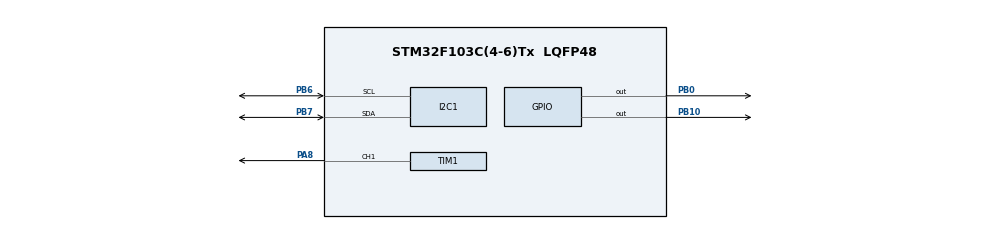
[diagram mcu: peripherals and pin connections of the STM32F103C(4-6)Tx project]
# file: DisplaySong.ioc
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Mcu.Family=STM32F1
ProjectManager.StackSize=0x400
PA13.Signal=SYS_JTMS-SWDIO
SH.S_TIM1_CH1.0=TIM1_CH1,PWM Generation1 CH1
ProjectManager.TargetToolchain=STM32CubeIDE
PB6.Signal=I2C1_SCL
PB6.Mode=I2C
PB10.Signal=GPIO_Output
board=custom
RCC.APB2Freq_Value=8000000
TIM1.Channel-PWM\ Generation1\ CH1=TIM_CHANNEL_1
PA14.Mode=Serial_Wire
PB7.Signal=I2C1_SDA
PA8.Signal=S_TIM1_CH1
PA13.Mode=Serial_Wire
Mcu.Name=STM32F103C(4-6)Tx
VP_TIM1_VS_ClockSourceINT.Mode=Internal
Mcu.Package=LQFP48
PB7.Mode=I2C
PA14.Signal=SYS_JTCK-SWCLK
ProjectManager.HeapSize=0x200
NVIC.PriorityGroup=NVIC_PRIORITYGROUP_4
RCC.APB1Freq_Value=8000000
PB0.Signal=GPIO_Output

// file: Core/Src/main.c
/* USER CODE BEGIN Header */
/**
  ******************************************************************************
  * @file           : main.c
  * @brief          : Main program body
  ******************************************************************************
  */
/* USER CODE END Header */
#include "main.h"

/* USER CODE BEGIN Includes */
#include <math.h>
#include "ssd1306.h"
#include "fonts.h"
/* USER CODE END Includes */

I2C_HandleTypeDef hi2c1;
TIM_HandleTypeDef htim1;

/* USER CODE BEGIN PV */
uint8_t  song_playing = 0;
uint8_t  note_idx = 0;
uint8_t  lyric_idx = 0;
uint32_t note_tick = 0;
/* USER CODE END PV */

void SystemClock_Config(void);
static void MX_GPIO_Init(void);
static void MX_I2C1_Init(void);
static void MX_TIM1_Init(void);

/* USER CODE BEGIN PFP */
void OLED_ShowText(const char* txt);
/* USER CODE END PFP */

/* USER CODE BEGIN 0 */

/* ===== MUSICAL NOTES (CORRECT OCTAVE) ===== */
#define NOTE_C4  262
#define NOTE_D4  294
#define NOTE_E4  330
#define NOTE_F4  349
#define NOTE_G4  392
#define NOTE_A4  440
#define NOTE_C5  523
#define NOTE_D5  587
#define NOTE_E5  659
#define NOTE_F5  698
#define NOTE_G5  784
#define NOTE_A5  880

   // <--- SPEED CONTROL (0.5 = fast, 1.0 = slow)

void Speaker_PlayFreq(uint16_t freq)
{
    if (freq == 0)
    {
        __HAL_TIM_SET_COMPARE(&htim1, TIM_CHANNEL_1, 0);
        return;
    }

    uint32_t arr = (HAL_RCC_GetPCLK2Freq() / freq) - 1;
    __HAL_TIM_SET_AUTORELOAD(&htim1, arr);
    __HAL_TIM_SET_COMPARE(&htim1, TIM_CHANNEL_1, arr / 2);
}

/* ===== OLED ===== */
void OLED_ShowText(const char* txt)
{
    ssd1306_Fill(Black);
    ssd1306_SetCursor(0, 22);
    ssd1306_WriteString(txt, Font_7x10, White);
    ssd1306_UpdateScreen(&hi2c1);
}

void OLED_ShowTwoLine(const char* l1, const char* l2)
{
    ssd1306_Fill(Black);

    ssd1306_SetCursor(0, 10);
    ssd1306_WriteString(l1, Font_7x10, White);

    ssd1306_SetCursor(0, 26);
    ssd1306_WriteString(l2, Font_7x10, White);

    ssd1306_UpdateScreen(&hi2c1);
}

/* ===== LED ===== */
void LED_Music(uint16_t freq)
{
    HAL_GPIO_WritePin(GPIOB, GPIO_PIN_0 | GPIO_PIN_10, GPIO_PIN_RESET);

    if (freq <= NOTE_E4)
        HAL_GPIO_WritePin(GPIOB, GPIO_PIN_0, GPIO_PIN_SET);   // Green
    else
        HAL_GPIO_WritePin(GPIOB, GPIO_PIN_10, GPIO_PIN_SET);  // Yellow
}
// ===== CORRECT TWINKLE MELODY =====
uint16_t twinkleNotes[] =
{
    NOTE_C4, NOTE_C4, NOTE_G4, NOTE_G4, NOTE_A4, NOTE_A4, NOTE_G4,
    NOTE_F4, NOTE_F4, NOTE_E4, NOTE_E4, NOTE_D4, NOTE_D4, NOTE_C4,
    NOTE_G4, NOTE_G4, NOTE_F4, NOTE_F4, NOTE_E4, NOTE_E4, NOTE_D4,
    NOTE_G4, NOTE_G4, NOTE_F4, NOTE_F4, NOTE_E4, NOTE_E4, NOTE_D4,
    NOTE_C4, NOTE_C4, NOTE_G4, NOTE_G4, NOTE_A4, NOTE_A4, NOTE_G4,
    NOTE_F4, NOTE_F4, NOTE_E4, NOTE_E4, NOTE_D4, NOTE_D4, NOTE_C4
};

uint16_t twinkleDurations[] =
{
    400,400,400,400,400,400,800,
    400,400,400,400,400,400,800,
    400,400,400,400,400,400,800,
    400,400,400,400,400,400,800,
    400,400,400,400,400,400,800,
    400,400,400,400,400,400,800
};

/* ===== LYRICS ===== */
const char* twinkleLyrics[][2] =
{
    {"Twinkle twinkle", "little star"},
    {"How I wonder", "what you are"},
    {"Up above the world", "so high"},
    {"Like a diamond", "in the sky"}
};

/* which note index changes lyrics */
uint8_t lyricMap[] = {0, 7, 14, 21};

void Twinkle_Update(void)
{
    uint32_t now = HAL_GetTick();

    if (!song_playing)
    {
        song_playing = 1;
        note_idx = 0;
        lyric_idx = 0;
        note_tick = now;

        Speaker_PlayFreq(twinkleNotes[0]);
        LED_Music(twinkleNotes[0]);
        OLED_ShowTwoLine(
            twinkleLyrics[0][0],
            twinkleLyrics[0][1]
        );
        return;
    }

    if (now - note_tick >= twinkleDurations[note_idx])

    {
        note_tick = now;
        note_idx++;

        if (note_idx >= sizeof(twinkleNotes)/sizeof(twinkleNotes[0]))
        {
            Speaker_PlayFreq(0);
            OLED_ShowText("The End");
            song_playing = 0;
            return;
        }

        Speaker_PlayFreq(twinkleNotes[note_idx]);
        LED_Music(twinkleNotes[note_idx]);

        if (lyric_idx + 1 < 4 && note_idx == lyricMap[lyric_idx + 1])
        {
            lyric_idx++;
            OLED_ShowTwoLine(
                twinkleLyrics[lyric_idx][0],
                twinkleLyrics[lyric_idx][1]
            );
        }

        }
    }

void Play_TwinkleTwinkle_Synced(void)
{
    /* ===== NOTES (C4 octave – correct pitch) ===== */
    uint16_t notes[] =
    {
        NOTE_C4, NOTE_C4, NOTE_G4, NOTE_G4, NOTE_A4, NOTE_A4, NOTE_G4,
        NOTE_F4, NOTE_F4, NOTE_E4, NOTE_E4, NOTE_D4, NOTE_D4, NOTE_C4,

        NOTE_G4, NOTE_G4, NOTE_F4, NOTE_F4, NOTE_E4, NOTE_E4, NOTE_D4,
        NOTE_G4, NOTE_G4, NOTE_F4, NOTE_F4, NOTE_E4, NOTE_E4, NOTE_D4,

        NOTE_C4, NOTE_C4, NOTE_G4, NOTE_G4, NOTE_A4, NOTE_A4, NOTE_G4,
        NOTE_F4, NOTE_F4, NOTE_E4, NOTE_E4, NOTE_D4, NOTE_D4, NOTE_C4
    };

    /* ===== DURATIONS (EXACT FROM WORKING CODE) ===== */
    uint16_t duration[] =
    {
        400,400,400,400,400,400,800,
        400,400,400,400,400,400,800,
        400,400,400,400,400,400,800,
        400,400,400,400,400,400,800,
        400,400,400,400,400,400,800,
        400,400,400,400,400,400,800
    };

    /* ===== LYRICS ===== */
    const char* lyrics[][2] =
    {
        {"Twinkle twinkle", "little star"},
        {"How I wonder", "what you are"},
        {"Up above the world", "so high"},
        {"Like a diamond", "in the sky"}
    };

    /* ===== PHRASE START NOTE INDEX ===== */
    uint8_t lyricMap[] = {0, 7, 14, 21};

    int noteCount = sizeof(notes) / sizeof(notes[0]);
    uint8_t lyricIdx = 0;

    /* ----- SHOW FIRST LYRIC ----- */
    OLED_ShowTwoLine(lyrics[0][0], lyrics[0][1]);

    for (int i = 0; i < noteCount; i++)
    {
        /* ----- CHANGE LYRIC AT PHRASE START ----- */
        if (lyricIdx + 1 < 4 && i == lyricMap[lyricIdx + 1])
        {
            lyricIdx++;
            OLED_ShowTwoLine(
                lyrics[lyricIdx][0],
                lyrics[lyricIdx][1]
            );
        }

        /* ----- PLAY NOTE ----- */
        Speaker_PlayFreq(notes[i]);
        LED_Music(notes[i]);

        HAL_Delay(duration[i]);

        /* ----- SHORT GAP (ARTICULATION) ----- */
        Speaker_PlayFreq(0);
        HAL_Delay(60);
    }

    /* ----- END ----- */
    OLED_ShowTwoLine("The End", "");
    Speaker_PlayFreq(0);
}

/* USER CODE END 0 */

/* ================= MAIN ================= */
int main(void)
{
  HAL_Init();
  SystemClock_Config();

  MX_GPIO_Init();
  MX_I2C1_Init();
  MX_TIM1_Init();

  HAL_TIM_PWM_Start(&htim1, TIM_CHANNEL_1);
  ssd1306_Init(&hi2c1);

  while (1)
  {
	  while (1)
	  {
	      Play_TwinkleTwinkle_Synced();
	      HAL_Delay(3000);
	  }

  }
}

void SystemClock_Config(void)
{
  RCC_OscInitTypeDef RCC_OscInitStruct = {0};
  RCC_ClkInitTypeDef RCC_ClkInitStruct = {0};

  /** Initializes the RCC Oscillators according to the specified parameters
  * in the RCC_OscInitTypeDef structure.
  */
  RCC_OscInitStruct.OscillatorType = RCC_OSCILLATORTYPE_HSI;
  RCC_OscInitStruct.HSIState = RCC_HSI_ON;
  RCC_OscInitStruct.HSICalibrationValue = RCC_HSICALIBRATION_DEFAULT;
  RCC_OscInitStruct.PLL.PLLState = RCC_PLL_NONE;
  if (HAL_RCC_OscConfig(&RCC_OscInitStruct) != HAL_OK)
  {
    Error_Handler();
  }
  /** Initializes the CPU, AHB and APB buses clocks
  */
  RCC_ClkInitStruct.ClockType = RCC_CLOCKTYPE_HCLK|RCC_CLOCKTYPE_SYSCLK
                              |RCC_CLOCKTYPE_PCLK1|RCC_CLOCKTYPE_PCLK2;
  RCC_ClkInitStruct.SYSCLKSource = RCC_SYSCLKSOURCE_HSI;
  RCC_ClkInitStruct.AHBCLKDivider = RCC_SYSCLK_DIV1;
  RCC_ClkInitStruct.APB1CLKDivider = RCC_HCLK_DIV1;
  RCC_ClkInitStruct.APB2CLKDivider = RCC_HCLK_DIV1;

  if (HAL_RCC_ClockConfig(&RCC_ClkInitStruct, FLASH_LATENCY_0) != HAL_OK)
  {
    Error_Handler();
  }
}

static void MX_I2C1_Init(void)
{

  hi2c1.Instance = I2C1;
  hi2c1.Init.ClockSpeed = 100000;
  hi2c1.Init.DutyCycle = I2C_DUTYCYCLE_2;
  hi2c1.Init.OwnAddress1 = 0;
  hi2c1.Init.AddressingMode = I2C_ADDRESSINGMODE_7BIT;
  hi2c1.Init.DualAddressMode = I2C_DUALADDRESS_DISABLE;
  hi2c1.Init.OwnAddress2 = 0;
  hi2c1.Init.GeneralCallMode = I2C_GENERALCALL_DISABLE;
  hi2c1.Init.NoStretchMode = I2C_NOSTRETCH_DISABLE;
  if (HAL_I2C_Init(&hi2c1) != HAL_OK)
  {
    Error_Handler();
  }

}

static void MX_TIM1_Init(void)
{

  TIM_ClockConfigTypeDef sClockSourceConfig = {0};
  TIM_MasterConfigTypeDef sMasterConfig = {0};
  TIM_OC_InitTypeDef sConfigOC = {0};
  TIM_BreakDeadTimeConfigTypeDef sBreakDeadTimeConfig = {0};

  htim1.Instance = TIM1;
  htim1.Init.Prescaler = 0;
  htim1.Init.CounterMode = TIM_COUNTERMODE_UP;
  htim1.Init.Period = 65535;
  htim1.Init.ClockDivision = TIM_CLOCKDIVISION_DIV1;
  htim1.Init.RepetitionCounter = 0;
  htim1.Init.AutoReloadPreload = TIM_AUTORELOAD_PRELOAD_DISABLE;
  if (HAL_TIM_Base_Init(&htim1) != HAL_OK)
  {
    Error_Handler();
  }
  sClockSourceConfig.ClockSource = TIM_CLOCKSOURCE_INTERNAL;
  if (HAL_TIM_ConfigClockSource(&htim1, &sClockSourceConfig) != HAL_OK)
  {
    Error_Handler();
  }
  if (HAL_TIM_PWM_Init(&htim1) != HAL_OK)
  {
    Error_Handler();
  }
  sMasterConfig.MasterOutputTrigger = TIM_TRGO_RESET;
  sMasterConfig.MasterSlaveMode = TIM_MASTERSLAVEMODE_DISABLE;
  if (HAL_TIMEx_MasterConfigSynchronization(&htim1, &sMasterConfig) != HAL_OK)
  {
    Error_Handler();
  }
  sConfigOC.OCMode = TIM_OCMODE_PWM1;
  sConfigOC.Pulse = 0;
  sConfigOC.OCPolarity = TIM_OCPOLARITY_HIGH;
  sConfigOC.OCNPolarity = TIM_OCNPOLARITY_HIGH;
  sConfigOC.OCFastMode = TIM_OCFAST_DISABLE;
  sConfigOC.OCIdleState = TIM_OCIDLESTATE_RESET;
  sConfigOC.OCNIdleState = TIM_OCNIDLESTATE_RESET;
  if (HAL_TIM_PWM_ConfigChannel(&htim1, &sConfigOC, TIM_CHANNEL_1) != HAL_OK)
  {
    Error_Handler();
  }
  sBreakDeadTimeConfig.OffStateRunMode = TIM_OSSR_DISABLE;
  sBreakDeadTimeConfig.OffStateIDLEMode = TIM_OSSI_DISABLE;
  sBreakDeadTimeConfig.LockLevel = TIM_LOCKLEVEL_OFF;
  sBreakDeadTimeConfig.DeadTime = 0;
  sBreakDeadTimeConfig.BreakState = TIM_BREAK_DISABLE;
  sBreakDeadTimeConfig.BreakPolarity = TIM_BREAKPOLARITY_HIGH;
  sBreakDeadTimeConfig.AutomaticOutput = TIM_AUTOMATICOUTPUT_DISABLE;
  if (HAL_TIMEx_ConfigBreakDeadTime(&htim1, &sBreakDeadTimeConfig) != HAL_OK)
  {
    Error_Handler();
  }
  HAL_TIM_MspPostInit(&htim1);

}

static void MX_GPIO_Init(void)
{
  GPIO_InitTypeDef GPIO_InitStruct = {0};

  /* GPIO Ports Clock Enable */
  __HAL_RCC_GPIOB_CLK_ENABLE();
  __HAL_RCC_GPIOA_CLK_ENABLE();

  /*Configure GPIO pin Output Level */
  HAL_GPIO_WritePin(GPIOB, GPIO_PIN_0|GPIO_PIN_10, GPIO_PIN_RESET);

  /*Configure GPIO pins : PB0 PB10 */
  GPIO_InitStruct.Pin = GPIO_PIN_0|GPIO_PIN_10;
  GPIO_InitStruct.Mode = GPIO_MODE_OUTPUT_PP;
  GPIO_InitStruct.Pull = GPIO_NOPULL;
  GPIO_InitStruct.Speed = GPIO_SPEED_FREQ_LOW;
  HAL_GPIO_Init(GPIOB, &GPIO_InitStruct);

}

void Error_Handler(void)
{
  __disable_irq();
  while (1)
  {
  }
}

/************************ (C) COPYRIGHT STMicroelectronics *****END OF FILE****/
